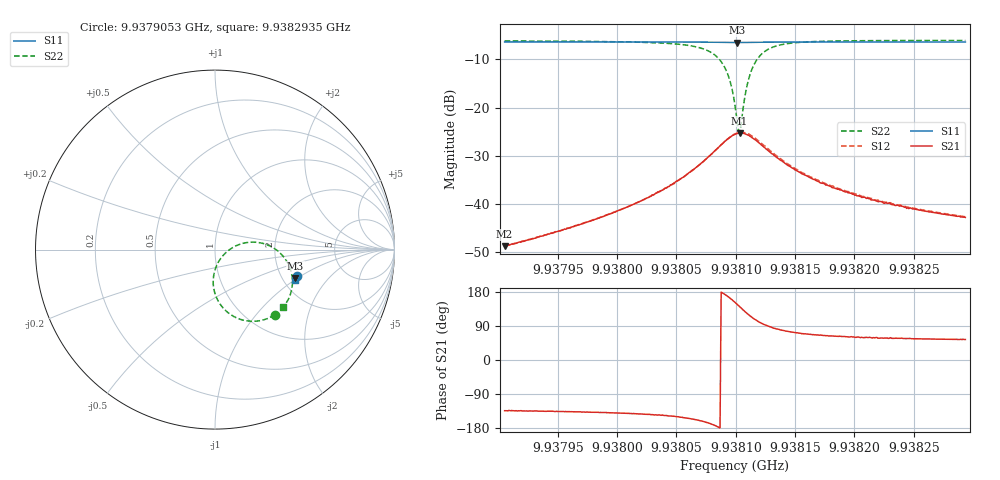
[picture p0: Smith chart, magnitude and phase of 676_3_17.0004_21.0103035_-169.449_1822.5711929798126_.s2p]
#  HZ  S  RI  R  50.00
! Rohde & Schwarz Vector Network Analyzer
! Rohde-Schwarz,ZNB20-2Port,1311601062101988,3.16
! Created: UTC 3/20/2024, 11:22:22 PM
! freq[Hz]  re:S11  im:S11  re:S21  im:S21  re:S12  im:S12  re:S22  im:S22
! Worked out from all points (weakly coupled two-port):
!   401 points, 9.9379053 GHz to 9.9382935 GHz, reference 50 ohm
!   highest |S21| = -25.28 dB at 9.9381033 GHz (marker M1); lowest = -48.8 dB at 9.9379053 GHz (marker M2)
!   lowest |S11| = -6.5 dB at 9.9381013 GHz (marker M3), VSWR 2.80, Z = 117 - j47.6 ohm
!   |S11| at or under -10 dB: nowhere
!   |S22| runs from -25.0 to -6.1 dB; largest |S21 - S12| = 0.0021
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9.93790526e9  0.4577 -0.148  -0.00253 -0.00263  -0.00256 -0.00263  0.3338 -0.362
9.93797028e9  0.4557 -0.1525  -0.0046 -0.0042  -0.00465 -0.00417  0.3124 -0.3748
9.93800717e9  0.4546 -0.1551  -0.00706 -0.00581  -0.00716 -0.00572  0.2886 -0.3855
9.93803531e9  0.4535 -0.1572  -0.0109 -0.00771  -0.0112 -0.00744  0.2541 -0.3951
9.93806637e9  0.4513 -0.1596  -0.022 -0.00915  -0.0221 -0.009  0.1651 -0.3949
9.93808287e9  0.4492 -0.1606  -0.036 -0.00428  -0.0356 -0.00434  0.0621 -0.3424
9.93808869e9  0.448 -0.1602  -0.0421 0.00194  -0.0422 0.00138  0.0184 -0.2879
9.93809258e9  0.4474 -0.1597  -0.0457 0.00867  -0.0459 0.0078  -0.00329 -0.2335
9.93809646e9  0.4469 -0.159  -0.0476 0.0172  -0.0482 0.0164  -0.00954 -0.1638
9.93809937e9  0.4467 -0.1582  -0.0466 0.0248  -0.0478 0.0239  0.00229 -0.105
9.93810131e9  0.4467 -0.1577  -0.0449 0.0297  -0.0464 0.029  0.0204 -0.0667
9.93810325e9  0.4469 -0.1573  -0.0422 0.0343  -0.0439 0.0338  0.0462 -0.0315
9.93810422e9  0.447 -0.1571  -0.0404 0.0364  -0.0422 0.0362  0.0615 -0.016
9.93810811e9  0.4477 -0.1565  -0.0318 0.0427  -0.0338 0.0431  0.1356 0.0286
9.93811102e9  0.4485 -0.1562  -0.025 0.045  -0.0266 0.0461  0.196 0.0412
9.9381149e9  0.4494 -0.1562  -0.016 0.045  -0.0174 0.0466  0.2695 0.0339
9.93811975e9  0.4503 -0.1565  -0.00747 0.0422  -0.00809 0.0439  0.3383 0.00112
9.93813431e9  0.4516 -0.1585  0.00435 0.0303  0.00469 0.0314  0.4217 -0.1144
9.9381644e9  0.4516 -0.1621  0.00716 0.0168  0.00756 0.0172  0.4252 -0.2311
9.93820031e9  0.4505 -0.1652  0.00614 0.0107  0.00649 0.011  0.407 -0.2802
9.93822943e9  0.4498 -0.1673  0.00556 0.00868  0.00566 0.00852  0.3959 -0.2992
9.93829348e9  0.4477 -0.1716  0.00426 0.00587  0.00444 0.0059  0.3799 -0.3215
